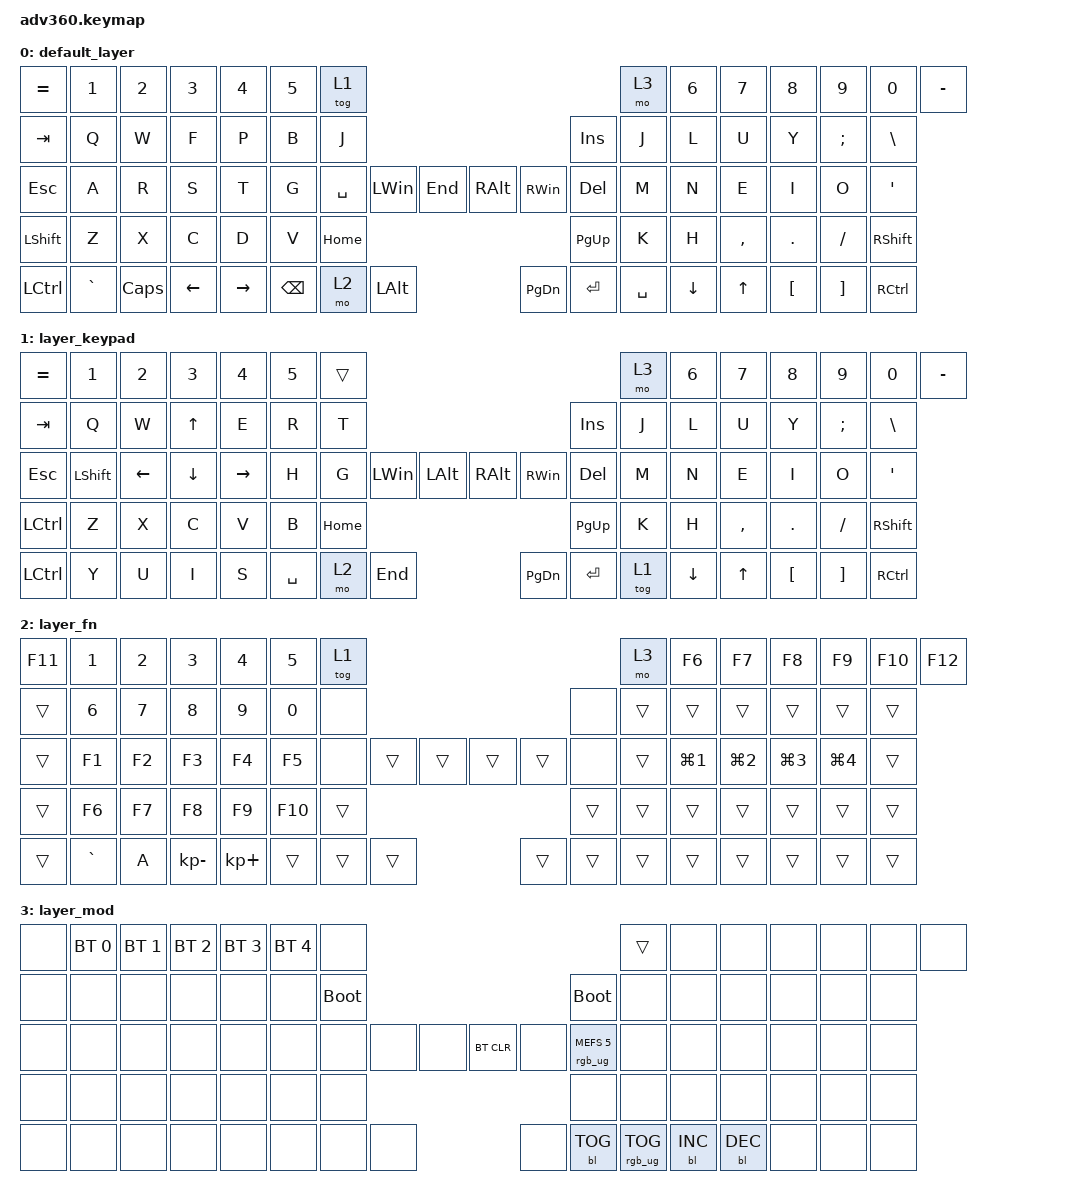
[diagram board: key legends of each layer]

/*
 * Copyright (c) 2020 The ZMK Contributors
 *
 * SPDX-License-Identifier: MIT
 */


/* THIS FILE WAS GENERATED!
 *
 * This file was generated automatically. You may or may not want to
 * edit it directly.
 */

#include <behaviors.dtsi>
#include <dt-bindings/zmk/keys.h>
#include <dt-bindings/zmk/bt.h>
#include <dt-bindings/zmk/rgb.h>
#include <dt-bindings/zmk/stp.h>
#include <dt-bindings/zmk/backlight.h>
#include <dt-bindings/zmk/pointing.h>

/ {
    behaviors {
      #include "macros.dtsi"
      #include "version.dtsi"

      hm: homerow_mods {
          compatible = "zmk,behavior-hold-tap";
          label = "HOMEROW_MODS";
          #binding-cells = <2>;
          tapping-term-ms = <200>;
          quick_tap_ms = <175>;
          flavor = "tap-preferred";
          bindings = <&kp>, <&kp>;
      };
    };

    keymap {
        compatible = "zmk,keymap";


        default_layer {
            bindings = <
        &kp EQUAL     &kp N1    &kp N2    &kp N3     &kp N4  &kp N5               &tog 1                                                                     &mo 3  &kp N6    &kp N7     &kp N8    &kp N9         &kp N0          &kp MINUS
          &kp TAB      &kp Q     &kp W     &kp F      &kp P   &kp B                &kp J                                                                   &kp INS   &kp J     &kp L      &kp U     &kp Y  &kp SEMICOLON           &kp BSLH
          &kp ESC      &kp A     &kp R     &kp S      &kp T   &kp G            &kp SPACE  &kp LEFT_WIN   &kp END                   &kp RALT   &kp RWIN  &kp DELETE   &kp M     &kp N      &kp E     &kp I          &kp O            &kp SQT
        &kp LSHFT      &kp Z     &kp X     &kp C      &kp D   &kp V                                     &kp HOME                  &kp PG_UP                          &kp K     &kp H  &kp COMMA   &kp DOT       &kp FSLH          &kp RSHFT
 &kp LEFT_CONTROL  &kp GRAVE  &kp CAPS  &kp LEFT  &kp RIGHT                     &kp BSPC         &mo 2  &kp LALT                  &kp PG_DN  &kp ENTER   &kp SPACE          &kp DOWN     &kp UP  &kp LBKT       &kp RBKT  &kp RIGHT_CONTROL
            >;
        };

        layer_keypad {
            bindings = <
 &kp EQUAL      &kp N1    &kp N2    &kp N3     &kp N4  &kp N5               &trans                                                                 &mo 3  &kp N6  &kp NUMBER_7  &kp NUMBER_8      &kp NUMBER_9   &kp NUMBER_0  &kp MINUS
   &kp TAB       &kp Q     &kp W    &kp UP      &kp E   &kp R                &kp T                                                            &kp INSERT   &kp J         &kp L         &kp U             &kp Y  &kp SEMICOLON   &kp BSLH
   &kp ESC  &kp LSHIFT  &kp LEFT  &kp DOWN  &kp RIGHT   &kp H                &kp G  &kp LWIN  &kp LALT                   &kp RALT   &kp RWIN  &kp DELETE   &kp M         &kp N         &kp E             &kp I          &kp O    &kp SQT
 &kp LCTRL       &kp Z     &kp X     &kp C      &kp V   &kp B                                 &kp HOME                  &kp PG_UP                          &kp K         &kp H     &kp COMMA           &kp DOT      &kp SLASH  &kp RSHFT
 &kp LCTRL       &kp Y     &kp U     &kp I      &kp S                    &kp SPACE     &mo 2   &kp END                  &kp PG_DN  &kp ENTER      &tog 1              &kp DOWN        &kp UP  &kp LEFT_BRACKET       &kp RBKT  &kp RCTRL
            >;
        };

        layer_fn {
            bindings = <
 &kp F11  &kp NUMBER_1  &kp NUMBER_2  &kp NUMBER_3  &kp NUMBER_4  &kp NUMBER_5            &tog 1                                                   &mo 3  &kp F6      &kp F7      &kp F8      &kp F9     &kp F10  &kp F12
  &trans  &kp NUMBER_6  &kp NUMBER_7  &kp NUMBER_8  &kp NUMBER_9  &kp NUMBER_0             &none                                                   &none  &trans      &trans      &trans      &trans      &trans   &trans
  &trans        &kp F1        &kp F2        &kp F3        &kp F4        &kp F5             &none  &trans  &trans                  &trans  &trans   &none  &trans  &kp LG(N1)  &kp LG(N2)  &kp LG(N3)  &kp LG(N4)   &trans
  &trans        &kp F6        &kp F7        &kp F8        &kp F9       &kp F10                            &trans                  &trans                  &trans      &trans      &trans      &trans      &trans   &trans
  &trans     &kp GRAVE         &kp A  &kp KP_MINUS   &kp KP_PLUS                          &trans  &trans  &trans                  &trans  &trans  &trans              &trans      &trans      &trans      &trans   &trans
            >;
        };

        layer_mod {
            bindings = <
  &none  &bt BT_SEL 0  &bt BT_SEL 1  &bt BT_SEL 2  &bt BT_SEL 3  &bt BT_SEL 4                  &none                                                                          &trans   &none       &none       &none   &none   &none   &none
  &none         &none         &none         &none         &none         &none            &bootloader                                                                     &bootloader   &none       &none       &none   &none   &none   &none
  &none         &none         &none         &none         &none         &none                  &none   &none   &none                  &bt BT_CLR       &none  &rgb_ug RGB_MEFS_CMD 5   &none       &none       &none   &none   &none   &none
  &none         &none         &none         &none         &none         &none                                  &none                       &none                                       &none       &none       &none   &none   &none   &none
  &none         &none         &none         &none         &none                                &none   &none   &none                       &none  &bl BL_TOG         &rgb_ug RGB_TOG          &bl BL_INC  &bl BL_DEC   &none   &none   &none
            >;
        };

    };
};
